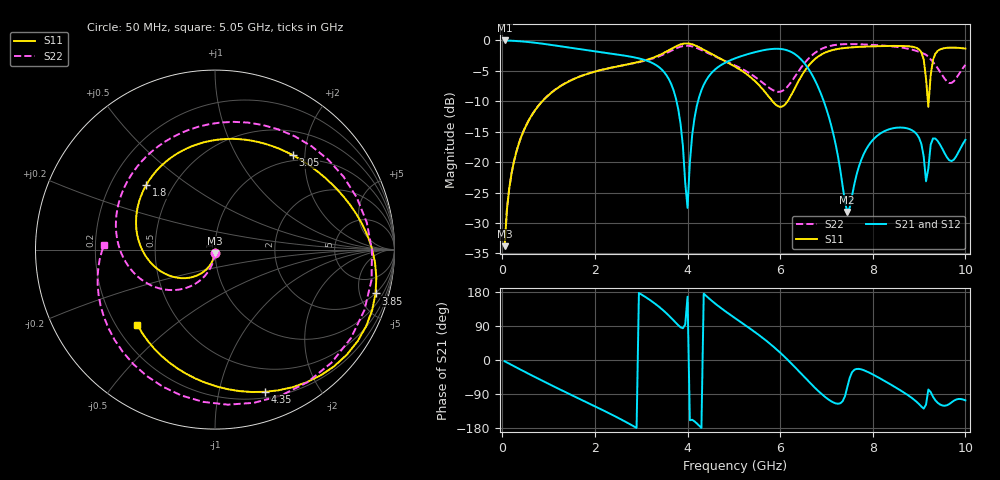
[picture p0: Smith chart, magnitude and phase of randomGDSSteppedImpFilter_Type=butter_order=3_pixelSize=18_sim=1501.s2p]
! freq	dB(S11)	phase(S11)	dB(S12)	phase(S12)
!  dB(S21)	phase(S21)	dB(S22)	phase(S22)
!S-par simulation data
#  GHz  S  DB  R 50
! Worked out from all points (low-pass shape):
!   200 points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, 50 MHz to 10 GHz, reference 50 ohm
!   highest |S21| = 0.00 dB at 50 MHz (marker M1); lowest = -28.2 dB at 7.45 GHz (marker M2)
!   |S21| within 3 dB of the highest: start of sweep to 2.976 GHz; 5.006 GHz to 6.437 GHz (1.43 GHz wide, 25 % of centre)
!   lowest |S11| = -33.8 dB at 50 MHz (marker M3), VSWR 1.04, Z = 49.8 - j2.03 ohm
!   |S11| at or under -10 dB: start of sweep to 864.4 MHz; 5.836 GHz to 6.16 GHz (324.6 MHz wide, 5.41 % of centre); 9.190221 GHz to 9.208784 GHz (18.56 MHz wide, 0.202 % of centre)
!   |S22| runs from -33.8 to -0.6 dB; largest |S21 - S12| = 0
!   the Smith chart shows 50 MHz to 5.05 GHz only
!   S11 on the Smith chart (normalised r, x): 50 MHz: 1.00, -0.04; 1.8 GHz: 0.35, +0.35; 3.05 GHz: 0.89, +1.76; 3.85 GHz: 1.98, -6.90; 4.35 GHz: 0.26, -1.38; 5.05 GHz: 0.29, -0.37
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0.05  -33.81 -94.0  -0.00 -3.3  -0.00 -3.3  -33.80 -92.7
0.5  -14.21 -128.7  -0.21 -32.1  -0.21 -32.1  -14.19 -116.5
1.75  -5.72 140.5  -1.52 -107.5  -1.52 -107.5  -5.70 -176.8
1.8  -5.59 137.0  -1.57 -110.4  -1.57 -110.4  -5.57 -179.1
3.05  -3.33 50.6  -3.16 169.5  -3.16 169.5  -3.40 106.8
3.4  -2.38 25.8  -4.49 138.9  -4.49 138.9  -2.57 69.0
3.85  -0.66 -15.3  -13.75 86.4  -13.75 86.4  -1.03 -11.0
4  -0.50 -32.7  -27.52 167.0  -27.52 167.0  -0.87 -44.2
4.35  -1.52 -70.8  -7.30 175.1  -7.30 175.1  -1.75 -110.9
5.05  -4.41 -136.1  -2.88 108.5  -2.88 108.5  -4.19 177.4
5.9  -10.51 90.6  -1.37 30.4  -1.37 30.4  -8.37 153.1
6.3  -8.10 -29.8  -2.16 -16.5  -2.16 -16.5  -6.16 164.6
6.7  -3.42 -119.1  -5.80 -67.2  -5.80 -67.2  -2.35 147.2
7.05  -1.77 178.2  -12.54 -104.8  -12.54 -104.8  -0.96 123.3
7.45  -1.19 117.9  -28.19 -72.2  -28.19 -72.2  -0.60 98.1
8.35  -0.91 16.1  -14.61 -62.0  -14.61 -62.0  -0.93 45.9
8.85  -1.03 -29.8  -14.77 -100.7  -14.77 -100.7  -1.52 9.4
9.15  -6.29 -74.2  -23.15 -117.6  -23.15 -117.6  -2.36 -23.5
9.25  -5.76 -17.7  -17.15 -84.5  -17.15 -84.5  -3.10 -39.4
9.4  -1.73 -41.9  -16.51 -112.7  -16.51 -112.7  -4.55 -67.7
9.7  -1.18 -71.0  -19.83 -111.9  -19.83 -111.9  -6.98 -163.9
10  -1.33 -94.7  -16.34 -106.5  -16.34 -106.5  -4.00 107.8
